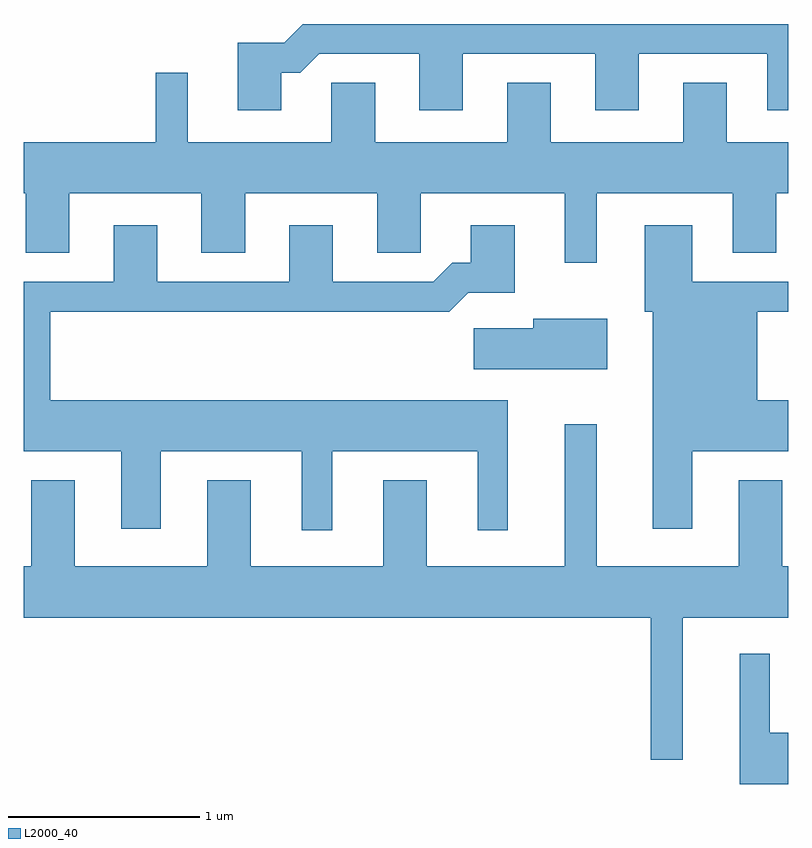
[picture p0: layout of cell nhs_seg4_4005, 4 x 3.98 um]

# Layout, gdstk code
import gdstk
lib = gdstk.Library(unit=1e-6, precision=1e-09)
def P(c, l, *ps):  # polygons
    for p in ps: c.add(gdstk.Polygon(p, *l))
L2000_40 = (2000, 40)

nhs_seg4_4005 = lib.new_cell('nhs_seg4_4005')
P(nhs_seg4_4005, L2000_40, [(302.959,1379.726),(303.057,1379.726),(303.157,1379.826),(303.681,1379.826),(303.681,1379.531),(303.909,1379.531),(303.909,1379.826),(304.601,1379.826),(304.601,1379.531),(304.829,1379.531),(304.829,1379.826),(305.501,1379.826),(305.501,1379.531),(305.611,1379.531),(305.611,1379.982),(303.072,1379.982),(302.974,1379.884),(302.731,1379.884),(302.731,1379.531),(302.959,1379.531)],
  [(304.609,1379.096),(305.321,1379.096),(305.321,1378.786),(305.549,1378.786),(305.549,1379.096),(305.611,1379.096),(305.611,1379.364),(305.289,1379.364),(305.289,1379.674),(305.061,1379.674),(305.061,1379.364),(304.369,1379.364),(304.369,1379.674),(304.141,1379.674),(304.141,1379.364),(303.449,1379.364),(303.449,1379.674),(303.221,1379.674),(303.221,1379.364),(302.469,1379.364),(302.469,1379.728),(302.301,1379.728),(302.301,1379.364),(301.611,1379.364),(301.611,1379.096),(301.621,1379.096),(301.621,1378.786),(301.849,1378.786),(301.849,1379.096),(302.541,1379.096),(302.541,1378.786),(302.769,1378.786),(302.769,1379.096),(303.461,1379.096),(303.461,1378.786),(303.689,1378.786),(303.689,1379.096),(304.441,1379.096),(304.441,1378.733),(304.609,1378.733)],
  [(303.224,1377.746),(303.986,1377.746),(303.986,1377.333),(304.144,1377.333),(304.144,1378.014),(301.749,1378.014),(301.749,1378.476),(303.837,1378.476),(303.937,1378.576),(304.179,1378.576),(304.179,1378.929),(303.951,1378.929),(303.951,1378.734),(303.854,1378.734),(303.754,1378.634),(303.229,1378.634),(303.229,1378.929),(303.001,1378.929),(303.001,1378.634),(302.309,1378.634),(302.309,1378.929),(302.081,1378.929),(302.081,1378.634),(301.611,1378.634),(301.611,1377.746),(302.121,1377.746),(302.121,1377.341),(302.329,1377.341),(302.329,1377.746),(303.066,1377.746),(303.066,1377.333),(303.224,1377.333)],
  [(305.109,1377.746),(305.611,1377.746),(305.611,1378.014),(305.449,1378.014),(305.449,1378.476),(305.611,1378.476),(305.611,1378.634),(305.109,1378.634),(305.109,1378.929),(304.861,1378.929),(304.861,1378.476),(304.901,1378.476),(304.901,1377.341),(305.109,1377.341)],
  [(304.664,1378.439),(304.276,1378.439),(304.276,1378.389),(303.966,1378.389),(303.966,1378.176),(304.664,1378.176)],
  [(304.891,1376.133),(305.059,1376.133),(305.059,1376.876),(305.611,1376.876),(305.611,1377.144),(305.579,1377.144),(305.579,1377.594),(305.351,1377.594),(305.351,1377.144),(304.609,1377.144),(304.609,1377.888),(304.441,1377.888),(304.441,1377.144),(303.719,1377.144),(303.719,1377.594),(303.491,1377.594),(303.491,1377.144),(302.799,1377.144),(302.799,1377.594),(302.571,1377.594),(302.571,1377.144),(301.879,1377.144),(301.879,1377.594),(301.651,1377.594),(301.651,1377.144),(301.611,1377.144),(301.611,1376.876),(304.891,1376.876)],
  [(305.611,1376.274),(305.514,1376.274),(305.514,1376.688),(305.356,1376.688),(305.356,1376.006),(305.611,1376.006)])

lib.write_gds('nhs_seg4_4005.gds')
